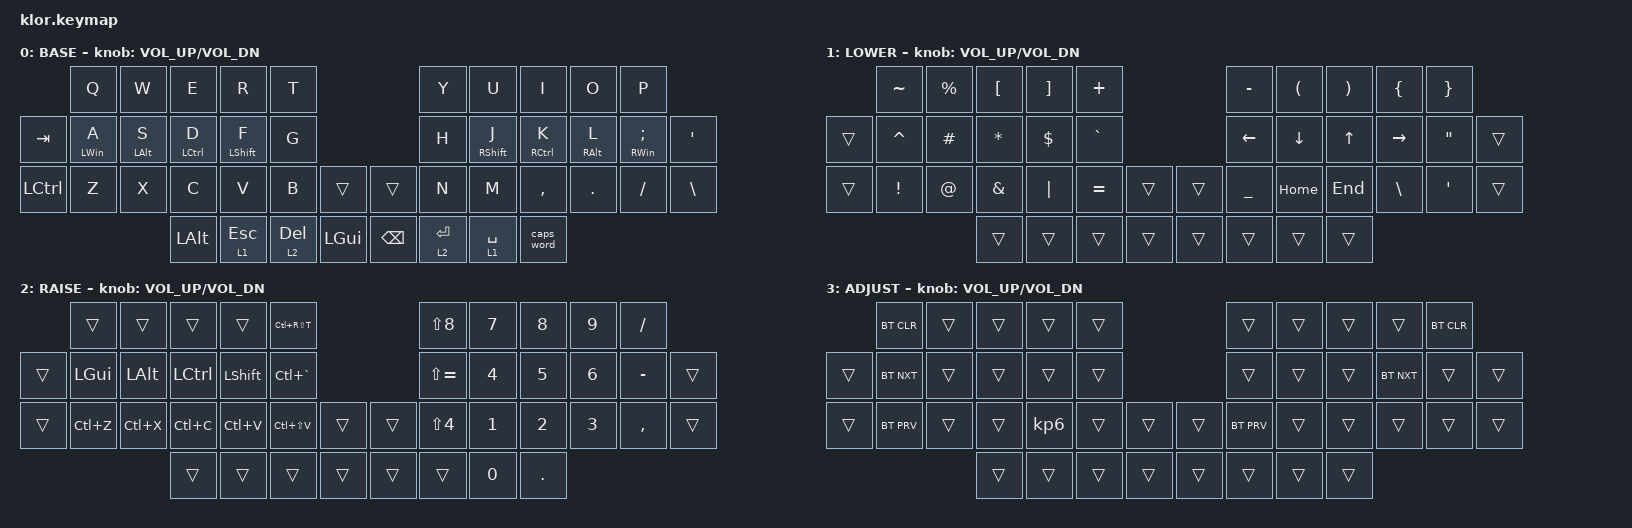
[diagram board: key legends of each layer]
//                               █         █    █            ▄▄▄▀▀▀▀▀▀▄▄▄        █▀▀▀▀▀▀▀▀▀▀█
//                               █        █     █          ▄▀            ▀▄      █          █
//                               █       █      █        ▄▀                ▀▄    █          █
//                               █      █       █        █                  █    █          █
//                               █     █        █       █                    █   █          █
//                               █    █         █       █                    █   █▄▄▄▄▄▄▄▄▄▄█
//                               █   █ █        █       █                    █   █      █
//                               █  █   █       █        █                  █    █       █
//                               █ █     █      █        ▀▄                ▄▀    █        █
//                               ██       █     █          ▀▄            ▄▀      █         █
//                               █         █    █▄▄▄▄▄▄▄▄    ▀▀▀▄▄▄▄▄▄▀▀▀        █          █
//
// ▄▄▄▄▄▄▄▄▄▄▄▄▄▄▄▄▄▄▄▄▄▄▄▄▄▄▄▄▄▄▄▄▄▄▄▄▄▄▄▄▄▄▄▄▄▄▄▄▄▄▄▄▄▄▄▄▄▄▄▄▄▄▄▄▄▄▄▄▄▄▄▄▄▄▄▄▄▄▄▄▄▄▄▄▄▄▄▄▄▄▄▄▄▄▄▄▄▄▄▄▄▄▄▄▄▄▄▄▄▄▄▄▄▄▄▄▄▄▄▄▄▄▄▄▄

#include <behaviors.dtsi>
#include <dt-bindings/zmk/bt.h>
#include <dt-bindings/zmk/keys.h>

#define BASE   0
#define LOWER  1
#define RAISE  2
#define ADJUST 3

/ {
    behaviors {
        hm: homerow_mods {
            compatible = "zmk,behavior-hold-tap";
            label = "HOMEROW_MODS";
            #binding-cells = <2>;
            tapping-term-ms = <150>;
            quick_tap_ms = <0>;
            flavor = "tap-preferred";
            bindings = <&kp>, <&kp>;
        };
    };

    combos {
        compatible = "zmk,combos";

        backspace {
            timeout-ms = <50>;
            key-positions = <18 19>;
            bindings = <&kp BACKSPACE>;
        };

        singlequote {
            bindings = <&kp SINGLE_QUOTE>;
            key-positions = <17 7>;
        };

        doublequote {
            bindings = <&kp LS(SINGLE_QUOTE)>;
            key-positions = <7 19>;
        };
    };

    keymap {
        compatible = "zmk,keymap";

        // ▄▄▄▄▄▄▄▄▄▄▄▄▄▄▄▄▄▄▄▄▄▄▄▄▄▄▄▄▄▄▄▄▄▄▄▄▄▄▄▄▄▄▄▄▄▄▄▄▄▄▄▄▄▄▄▄▄▄▄▄▄▄▄▄▄▄▄▄▄▄▄▄▄▄▄▄▄▄▄▄▄▄▄▄▄▄▄▄▄▄▄▄▄▄▄▄▄▄▄▄▄▄▄▄▄▄▄▄▄▄▄▄▄▄▄▄▄▄▄▄▄▄▄▄▄▄▄▄▄▄▄▄▄▄▄▄▄▄▄▄▄▄

        base_layer {
            // ┌───────────────────────────────────────────────────────────┐

            label = "BASE";

            // └───────────────────────────────────────────────────────────┘
            /*           ┌─────────┬─────────┬─────────┬─────────┬─────────┐                    ┌─────────┬─────────┬─────────┬─────────┬─────────┐
             │    Q    │    W    │    F    │    P    │    G    │                    │    J    │    L    │    U    │    Y    │    ;    │   
   ┌─────────┼─────────┼─────────┼─────────┼─────────┼─────────┤                    ├─────────┼─────────┼─────────┼─────────┼─────────┼─────────┐
   │   TAB   │    A    │    R    │    S    │    T    │    D    │                    │    H    │    N    │    E    │    I    │    O    │    "    │
   ├─────────┼─────────┼─────────┼─────────┼─────────┼─────────┤╭────────╮╭────────╮├─────────┼─────────┼─────────┼─────────┼─────────┼─────────┤
   │   DEL   │    Z    │    X    │    C    │    V    │    B    ││  MUTE  ││PLY/PSE ││    K    │    M    │    ,    │    .    │    /    │    \    │
   └─────────┴─────────┴─────────┼─────────┼─────────┼─────────┼╰────────╯╰────────╯┼─────────┼─────────┼─────────┼─────────┴─────────┴─────────┘
                                 │  CTRL   │  LOWER  │  SPACE  │   ALT   ││ CMD/WIN │  ENTER  │  RAISE  │  BSPCE  │  
                                 └─────────┴─────────┴─────────┴─────────┘└─────────┴─────────┴─────────┴─────────┘ */

            bindings = <
           &kp Q       &kp W       &kp E         &kp R         &kp T                                      &kp Y        &kp U        &kp I        &kp O       &kp P
&kp TAB    &hm LWIN A  &hm LALT S  &hm LCTRL D   &hm LSHFT F   &kp G                                      &kp H        &hm RSHFT J  &hm RCTRL K  &hm RALT L  &hm RWIN SEMICOLON  &kp SQT
&kp LCTRL  &kp Z       &kp X       &kp C         &kp V         &kp B         &trans        &trans         &kp N        &kp M        &kp COMMA    &kp DOT     &kp FSLH            &kp BSLH
                                   &kp LEFT_ALT  &lt 1 ESCAPE  &lt 2 DELETE  &kp LEFT_GUI  &kp BACKSPACE  &lt 2 ENTER  &lt 1 SPACE  &caps_word
            >;

            sensor-bindings = <&inc_dec_kp C_VOL_UP C_VOL_DN>;
        };

        // ▄▄▄▄▄▄▄▄▄▄▄▄▄▄▄▄▄▄▄▄▄▄▄▄▄▄▄▄▄▄▄▄▄▄▄▄▄▄▄▄▄▄▄▄▄▄▄▄▄▄▄▄▄▄▄▄▄▄▄▄▄▄▄▄▄▄▄▄▄▄▄▄▄▄▄▄▄▄▄▄▄▄▄▄▄▄▄▄▄▄▄▄▄▄▄▄▄▄▄▄▄▄▄▄▄▄▄▄▄▄▄▄▄▄▄▄▄▄▄▄▄▄▄▄▄▄▄▄▄▄▄▄▄▄▄▄▄▄▄▄▄▄

        lower_layer {
            // ┌───────────────────────────────────────────────────────────┐

            label = "LOWER";

            // └───────────────────────────────────────────────────────────┘
            /*           ┌─────────┬─────────┬─────────┬─────────┬─────────┐                    ┌─────────┬─────────┬─────────┬─────────┬─────────┐
             │         │         │    UP   │         │    {    │                    │    }    │    7    │    8    │    9    │    +    │
   ┌─────────┼─────────┼─────────┼─────────┼─────────┼─────────┤                    ├─────────┼─────────┼─────────┼─────────┼─────────┼─────────┐
   │         │         │   LEFT  │  DOWN   │  RIGHT  │    [    │                    │    ]    │    4    │    5    │    6    │    -    │         │
   ├─────────┼─────────┼─────────┼─────────┼─────────┼─────────┤╭────────╮╭────────╮├─────────┼─────────┼─────────┼─────────┼─────────┼─────────┤
   │         │         │   P UP  │ C LOCK  │ P DOWN  │    (    ││        ││        ││    )    │    1    │    2    │    3    │    *    │         │
   └─────────┴─────────┴─────────┼─────────┼─────────┼─────────┼╰────────╯╰────────╯┼─────────┼─────────┼─────────┼─────────┴─────────┴─────────┘
                                 │         │         │         │         ││         │         │    0    │         │  
                                 └─────────┴─────────┴─────────┴─────────┘└─────────┴─────────┴─────────┴─────────┘ */

            bindings = <
        &kp TILDE  &kp PERCENT  &kp LEFT_BRACKET  &kp RIGHT_BRACKET  &kp PLUS                   &kp MINUS       &kp LEFT_PARENTHESIS  &kp RIGHT_PARENTHESIS  &kp LEFT_BRACE  &kp RIGHT_BRACE
&trans  &kp CARET  &kp HASH     &kp ASTERISK      &kp DOLLAR         &kp GRAVE                  &kp LEFT        &kp DOWN              &kp UP                 &kp RIGHT       &kp DOUBLE_QUOTES  &trans
&trans  &kp EXCL   &kp AT       &kp AMPERSAND     &kp PIPE           &kp EQUAL  &trans  &trans  &kp UNDERSCORE  &kp HOME              &kp END                &kp BACKSLASH   &kp SINGLE_QUOTE   &trans
                                &trans            &trans             &trans     &trans  &trans  &trans          &trans                &trans
            >;

            sensor-bindings = <&inc_dec_kp C_VOL_UP C_VOL_DN>;
        };

        // ▄▄▄▄▄▄▄▄▄▄▄▄▄▄▄▄▄▄▄▄▄▄▄▄▄▄▄▄▄▄▄▄▄▄▄▄▄▄▄▄▄▄▄▄▄▄▄▄▄▄▄▄▄▄▄▄▄▄▄▄▄▄▄▄▄▄▄▄▄▄▄▄▄▄▄▄▄▄▄▄▄▄▄▄▄▄▄▄▄▄▄▄▄▄▄▄▄▄▄▄▄▄▄▄▄▄▄▄▄▄▄▄▄▄▄▄▄▄▄▄▄▄▄▄▄

        raise_layer {
            // ┌───────────────────────────────────────────────────────────┐

            label = "RAISE";

            // └───────────────────────────────────────────────────────────┘
            /*           ┌─────────┬─────────┬─────────┬─────────┬─────────┐                    ┌─────────┬─────────┬─────────┬─────────┬─────────┐
             │         │         │         │         │         │                    │         │         │    Ü    │         │         │
   ┌─────────┼─────────┼─────────┼─────────┼─────────┼─────────┤                    ├─────────┼─────────┼─────────┼─────────┼─────────┼─────────┐
   │    Ä    │         │    ß    │         │         │         │                    │         │         │         │         │    Ö    │         │
   ├─────────┼─────────┼─────────┼─────────┼─────────┼─────────┤╭────────╮╭────────╮├─────────┼─────────┼─────────┼─────────┼─────────┼─────────┤
   │         │         │         │         │         │         ││        ││        ││         │         │         │         │         │         │
   └─────────┴─────────┴─────────┼─────────┼─────────┼─────────┼╰────────╯╰────────╯┼─────────┼─────────┼─────────┼─────────┴─────────┴─────────┘
                                 │ ADJUST  │         │         │         ││         │         │         │         │  
                                 └─────────┴─────────┴─────────┴─────────┘└─────────┴─────────┴─────────┴─────────┘ */

            bindings = <
        &trans     &trans     &trans     &trans     &kp LC(RS(T))                  &kp LS(N8)     &kp N7  &kp N8   &kp N9  &kp FSLH
&trans  &kp LGUI   &kp LALT   &kp LCTRL  &kp LSHFT  &kp LC(GRAVE)                  &kp LS(EQUAL)  &kp N4  &kp N5   &kp N6  &kp MINUS  &trans
&trans  &kp LC(Z)  &kp LC(X)  &kp LC(C)  &kp LC(V)  &kp LC(LS(V))  &trans  &trans  &kp LS(N4)     &kp N1  &kp N2   &kp N3  &kp COMMA  &trans
                              &trans     &trans     &trans         &trans  &trans  &trans         &kp N0  &kp DOT
            >;

            sensor-bindings = <&inc_dec_kp C_VOL_UP C_VOL_DN>;
        };

        // ▄▄▄▄▄▄▄▄▄▄▄▄▄▄▄▄▄▄▄▄▄▄▄▄▄▄▄▄▄▄▄▄▄▄▄▄▄▄▄▄▄▄▄▄▄▄▄▄▄▄▄▄▄▄▄▄▄▄▄▄▄▄▄▄▄▄▄▄▄▄▄▄▄▄▄▄▄▄▄▄▄▄▄▄▄▄▄▄▄▄▄▄▄▄▄▄▄▄▄▄▄▄▄▄▄▄▄▄▄▄▄▄▄▄▄▄▄▄▄▄▄▄▄▄▄

        adjust_layer {
            // ┌───────────────────────────────────────────────────────────┐

            label = "ADJUST";

            // └───────────────────────────────────────────────────────────┘
            /*           ┌─────────┬─────────┬─────────┬─────────┬─────────┐                    ┌─────────┬─────────┬─────────┬─────────┬─────────┐
             │         │         │         │         │         │                    │         │         │         │         │         │
   ┌─────────┼─────────┼─────────┼─────────┼─────────┼─────────┤                    ├─────────┼─────────┼─────────┼─────────┼─────────┼─────────┐
   │         │         │         │         │         │         │                    │         │         │         │         │         │         │
   ├─────────┼─────────┼─────────┼─────────┼─────────┼─────────┤╭────────╮╭────────╮├─────────┼─────────┼─────────┼─────────┼─────────┼─────────┤
   │         │         │         │         │         │         ││        ││        ││         │         │         │         │         │         │
   └─────────┴─────────┴─────────┼─────────┼─────────┼─────────┼╰────────╯╰────────╯┼─────────┼─────────┼─────────┼─────────┴─────────┴─────────┘
                                 │         │         │         │         ││         │         │         │         │  
                                 └─────────┴─────────┴─────────┴─────────┘└─────────┴─────────┴─────────┴─────────┘ */

            bindings = <
        &bt BT_CLR  &trans  &trans  &trans     &trans                  &trans      &trans  &trans  &trans      &bt BT_CLR
&trans  &bt BT_NXT  &trans  &trans  &trans     &trans                  &trans      &trans  &trans  &bt BT_NXT  &trans      &trans
&trans  &bt BT_PRV  &trans  &trans  &kp KP_N6  &trans  &trans  &trans  &bt BT_PRV  &trans  &trans  &trans      &trans      &trans
                            &trans  &trans     &trans  &trans  &trans  &trans      &trans  &trans
            >;

            sensor-bindings = <&inc_dec_kp C_VOL_UP C_VOL_DN>;
        };
    };
};
